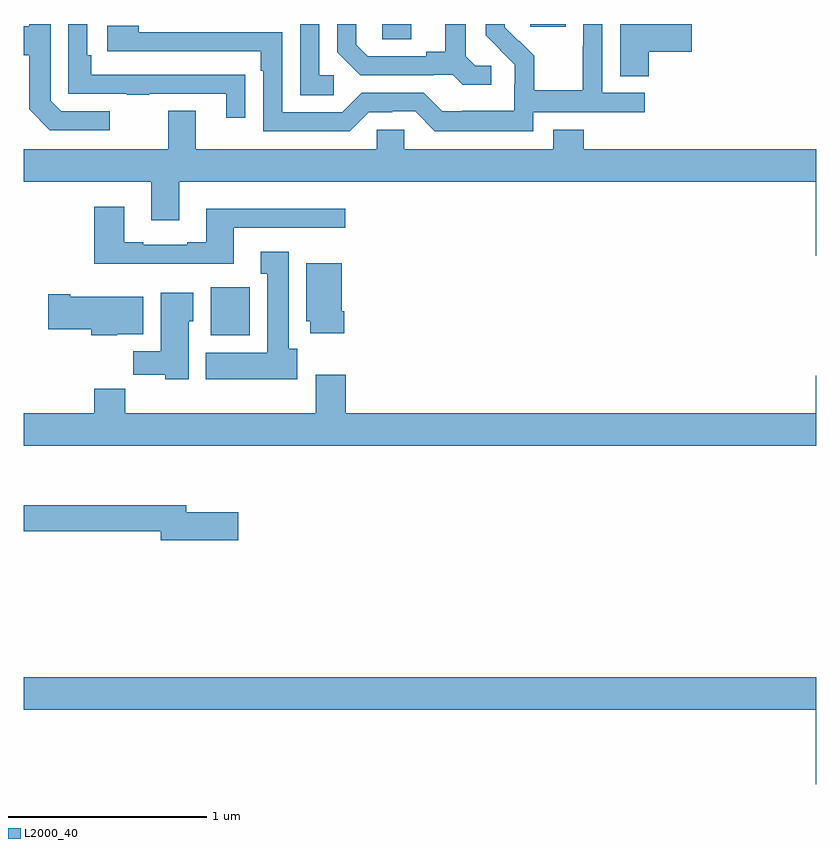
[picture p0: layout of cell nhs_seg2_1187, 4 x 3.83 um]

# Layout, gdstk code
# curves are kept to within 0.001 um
import gdstk
lib = gdstk.Library(unit=1e-6, precision=1e-09)
def R(c, l, rs):  # rectangles x0, y0, x1, y1
    for r in rs: c.add(gdstk.rectangle(r[:2], r[2:], *l))
def P(c, l, *ps):  # polygons
    for p in ps: c.add(gdstk.Polygon(p, *l))
L2000_40 = (2000, 40)

nhs_seg2_1187 = lib.new_cell('nhs_seg2_1187')
R(nhs_seg2_1187, L2000_40, [(173.945,612.23,174.142,612.472), (174.81,613.723,174.955,613.8), (175.556,613.785,175.735,613.8)])
P(nhs_seg2_1187, L2000_40, [(175.572,613.356),(176.134,613.356),(176.134,613.452),(175.92,613.452),(175.92,613.8),(175.824,613.8),(175.824,613.688),(175.822,613.688),(175.822,613.465),(175.577,613.465),(175.577,613.639),(175.5,613.716),(175.497,613.713),(175.427,613.784),(175.427,613.8),(175.332,613.8),(175.332,613.742),(175.478,613.594),(175.478,613.497),(175.476,613.497),(175.476,613.363),(175.213,613.363),(175.213,613.359),(175.113,613.359),(175.02,613.452),(174.705,613.452),(174.609,613.356),(174.306,613.356),(174.306,613.758),(173.582,613.758),(173.582,613.792),(173.421,613.792),(173.421,613.662),(174.197,613.662),(174.197,613.565),(174.21,613.565),(174.21,613.26),(174.645,613.26),(174.741,613.356),(174.86,613.356),(174.86,613.359),(174.975,613.359),(175.075,613.259),(175.572,613.259)],
  [(174.565,613.542),(174.492,613.542),(174.492,613.8),(174.396,613.8),(174.396,613.441),(174.565,613.441)],
  [(174.119,613.544),(174.017,613.544),(174.017,613.545),(173.342,613.545),(173.342,613.642),(173.322,613.642),(173.322,613.8),(173.226,613.8),(173.226,613.449),(173.521,613.449),(173.521,613.444),(173.633,613.444),(173.633,613.449),(174.023,613.449),(174.023,613.326),(174.119,613.326)],
  [(173.434,613.359),(173.19,613.359),(173.136,613.413),(173.136,613.8),(173.028,613.8),(173.028,613.789),(173,613.789),(173,613.642),(173.028,613.642),(173.028,613.369),(173.133,613.263),(173.434,613.263)],
  [(175.36,613.59),(175.278,613.59),(175.231,613.637),(175.231,613.8),(175.127,613.8),(175.127,613.661),(175.031,613.661),(175.031,613.638),(174.736,613.638),(174.679,613.695),(174.679,613.8),(174.582,613.8),(174.582,613.658),(174.698,613.542),(175.07,613.542),(175.07,613.545),(175.164,613.545),(175.216,613.493),(175.36,613.493)],
  [(176.153,613.661),(176.371,613.661),(176.371,613.8),(176.009,613.8),(176.009,613.537),(176.153,613.537)],
  [(177,613.168),(175.826,613.168),(175.826,613.267),(175.673,613.267),(175.673,613.168),(174.921,613.168),(174.921,613.266),(174.783,613.266),(174.783,613.168),(173.869,613.168),(173.869,613.363),(173.729,613.363),(173.729,613.168),(173,613.168),(173,613.004),(173.645,613.004),(173.645,612.81),(173.785,612.81),(173.785,613.004),(176.996,613.004),(176.996,612.63),(177,612.63)],
  [(174.061,612.771),(174.622,612.771),(174.622,612.868),(173.921,612.868),(173.921,612.7),(173.825,612.7),(173.825,612.687),(173.605,612.687),(173.605,612.7),(173.509,612.7),(173.509,612.877),(173.357,612.877),(173.357,612.59),(174.061,612.59)],
  [(174.382,612.162),(174.337,612.162),(174.337,612.652),(174.197,612.652),(174.197,612.539),(174.23,612.539),(174.23,612.142),(173.918,612.142),(173.918,612.008),(174.382,612.008)],
  [(174.617,612.352),(174.604,612.352),(174.604,612.592),(174.425,612.592),(174.425,612.3),(174.446,612.3),(174.446,612.24),(174.617,612.24)],
  [(173.833,612.3),(173.857,612.3),(173.857,612.445),(173.693,612.445),(173.693,612.148),(173.554,612.148),(173.554,612.03),(173.715,612.03),(173.715,612.008),(173.833,612.008)],
  [(173.472,612.236),(173.605,612.236),(173.605,612.424),(173.236,612.424),(173.236,612.437),(173.124,612.437),(173.124,612.259),(173.342,612.259),(173.342,612.23),(173.472,612.23)],
  [(177,612.025),(176.996,612.025),(176.996,611.836),(174.626,611.836),(174.626,612.031),(174.473,612.031),(174.473,611.836),(173.513,611.836),(173.513,611.96),(173.357,611.96),(173.357,611.836),(173,611.836),(173,611.672),(177,611.672)],
  [(174.082,611.337),(173.821,611.337),(173.821,611.371),(173,611.371),(173,611.242),(173.693,611.242),(173.693,611.195),(174.082,611.195)],
  [(177,610.504),(173,610.504),(173,610.34),(176.996,610.34),(176.996,609.966),(177,609.966)])

lib.write_gds('nhs_seg2_1187.gds')
